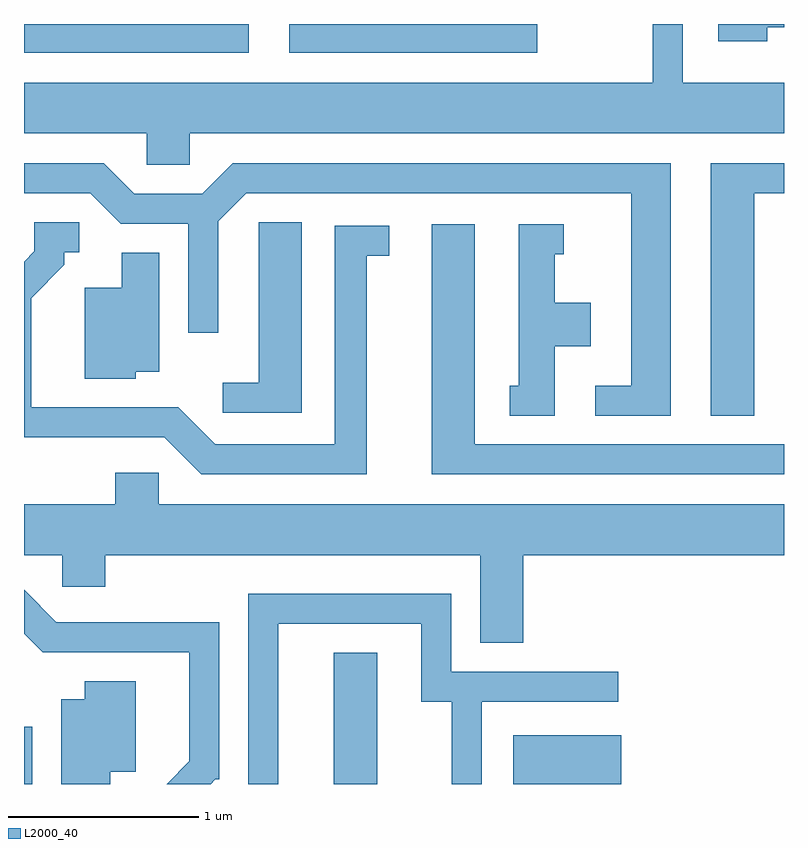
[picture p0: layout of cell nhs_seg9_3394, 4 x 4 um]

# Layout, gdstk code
import gdstk
lib = gdstk.Library(unit=1e-6, precision=1e-09)
def R(c, l, rs):  # rectangles x0, y0, x1, y1
    for r in rs: c.add(gdstk.rectangle(r[:2], r[2:], *l))
def P(c, l, *ps):  # polygons
    for p in ps: c.add(gdstk.Polygon(p, *l))
L2000_40 = (2000, 40)

nhs_seg9_3394 = lib.new_cell('nhs_seg9_3394')
R(nhs_seg9_3394, L2000_40, [(285.611,1948.432,285.654,1948.733), (287.241,1948.432,287.469,1949.124), (288.186,1948.432,288.754,1948.689), (285.611,1952.281,286.794,1952.432), (287.006,1952.281,288.313,1952.432)])
P(nhs_seg9_3394, L2000_40, [(286.484,1951.856),(289.611,1951.856),(289.611,1952.124),(289.079,1952.124),(289.079,1952.432),(288.921,1952.432),(288.921,1952.124),(285.611,1952.124),(285.611,1951.856),(286.256,1951.856),(286.256,1951.691),(286.484,1951.691)],
  [(289.524,1952.416),(289.611,1952.416),(289.611,1952.432),(289.266,1952.432),(289.266,1952.341),(289.524,1952.341)],
  [(289.014,1951.699),(286.709,1951.699),(286.549,1951.539),(286.192,1951.539),(286.032,1951.699),(285.611,1951.699),(285.611,1951.541),(285.959,1951.541),(286.119,1951.381),(286.476,1951.381),(286.476,1950.808),(286.634,1950.808),(286.634,1951.394),(286.782,1951.541),(288.806,1951.541),(288.806,1950.529),(288.618,1950.529),(288.618,1950.371),(289.014,1950.371)],
  [(289.454,1951.541),(289.611,1951.541),(289.611,1951.699),(289.226,1951.699),(289.226,1950.371),(289.454,1950.371)],
  [(287.414,1951.211),(287.533,1951.211),(287.533,1951.369),(287.246,1951.369),(287.246,1950.219),(286.617,1950.219),(286.422,1950.414),(285.649,1950.414),(285.649,1950.989),(285.824,1951.164),(285.824,1951.231),(285.903,1951.231),(285.903,1951.389),(285.666,1951.389),(285.666,1951.237),(285.611,1951.182),(285.611,1950.256),(286.349,1950.256),(286.544,1950.061),(287.414,1950.061)],
  [(287.074,1951.389),(286.846,1951.389),(286.846,1950.544),(286.658,1950.544),(286.658,1950.386),(287.074,1950.386)],
  [(289.611,1950.219),(287.984,1950.219),(287.984,1951.379),(287.756,1951.379),(287.756,1950.061),(289.611,1950.061)],
  [(288.404,1950.736),(288.594,1950.736),(288.594,1950.964),(288.404,1950.964),(288.404,1951.221),(288.453,1951.221),(288.453,1951.379),(288.216,1951.379),(288.216,1950.529),(288.168,1950.529),(288.168,1950.371),(288.404,1950.371)],
  [(286.199,1950.601),(286.324,1950.601),(286.324,1951.229),(286.126,1951.229),(286.126,1951.044),(285.931,1951.044),(285.931,1950.566),(286.199,1950.566)],
  [(288.239,1949.636),(289.611,1949.636),(289.611,1949.904),(286.319,1949.904),(286.319,1950.069),(286.091,1950.069),(286.091,1949.904),(285.611,1949.904),(285.611,1949.636),(285.811,1949.636),(285.811,1949.471),(286.039,1949.471),(286.039,1949.636),(288.011,1949.636),(288.011,1949.176),(288.239,1949.176)],
  [(286.617,1948.456),(286.639,1948.456),(286.639,1949.284),(285.782,1949.284),(285.611,1949.455),(285.611,1949.224),(285.709,1949.126),(286.481,1949.126),(286.481,1948.552),(286.361,1948.432),(286.593,1948.432)],
  [(286.949,1949.276),(287.701,1949.276),(287.701,1948.866),(287.861,1948.866),(287.861,1948.432),(288.019,1948.432),(288.019,1948.866),(288.738,1948.866),(288.738,1949.024),(287.859,1949.024),(287.859,1949.434),(286.791,1949.434),(286.791,1948.432),(286.949,1948.432)],
  [(286.064,1948.496),(286.199,1948.496),(286.199,1948.974),(285.931,1948.974),(285.931,1948.879),(285.806,1948.879),(285.806,1948.432),(286.064,1948.432)])

lib.write_gds('nhs_seg9_3394.gds')
